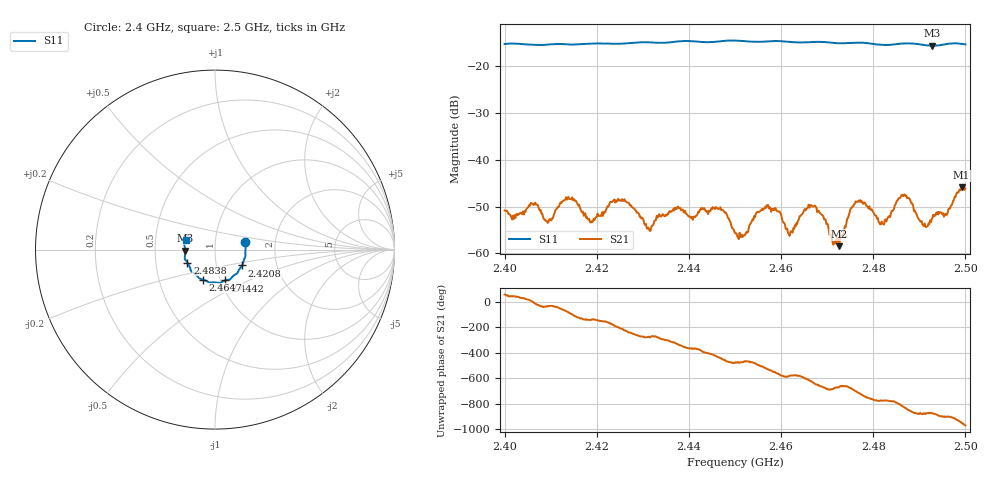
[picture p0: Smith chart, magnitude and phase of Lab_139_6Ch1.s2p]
# Hz S RI R 50
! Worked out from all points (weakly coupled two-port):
!   601 points, 2.4 GHz to 2.5 GHz, reference 50 ohm
!   highest |S21| = -45.92 dB at 2.4992 GHz (marker M1); lowest = -58.5 dB at 2.4725 GHz (marker M2)
!   lowest |S11| = -15.6 dB at 2.4928 GHz (marker M3), VSWR 1.40, Z = 35.8 - j0.388 ohm
!   |S11| at or under -10 dB: start of sweep to end of sweep
!   S12 and S22 are empty: the file has one direction only
!   S11 on the Smith chart (normalised r, x): 2.4 GHz: 1.40, +0.12; 2.4208 GHz: 1.33, -0.24; 2.4442 GHz: 1.05, -0.37; 2.4647 GHz: 0.83, -0.29; 2.4838 GHz: 0.73, -0.11; 2.5 GHz: 0.72, +0.08
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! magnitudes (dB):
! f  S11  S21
! 2.4 GHz  -15.2  -50.9
! 2.4167 GHz  -15.3  -51.1
! 2.4208 GHz  -15.1  -52.0
! 2.425 GHz  -15.2  -48.7
! 2.4313 GHz  -14.9  -54.8
! 2.4333 GHz  -15.0  -52.2
! 2.4442 GHz  -14.9  -51.6
! 2.4472 GHz  -14.6  -50.7
! 2.45 GHz  -14.5  -55.7
! 2.457 GHz  -14.7  -49.9
! 2.462 GHz  -14.8  -55.6
! 2.4647 GHz  -14.9  -51.5
! 2.4667 GHz  -14.8  -49.8
! 2.4725 GHz  -15.1  -58.5
! 2.4767 GHz  -15.0  -49.0
! 2.4833 GHz  -15.4  -52.3
! 2.4838 GHz  -15.4  -51.5
! 2.4867 GHz  -15.1  -47.5
! 2.4912 GHz  -15.5  -53.6
! 2.4928 GHz  -15.6  -52.5
! 2.4992 GHz  -15.2  -45.9
! 2.5 GHz  -15.3  -46.1
